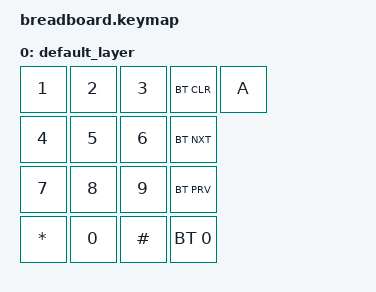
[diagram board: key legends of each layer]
/*
 * Copyright (c) 2020 The ZMK Contributors
 *
 * SPDX-License-Identifier: MIT
 */

#include <behaviors.dtsi>
#include <dt-bindings/zmk/keys.h>
#include <dt-bindings/zmk/bt.h>
#include <dt-bindings/zmk/rgb.h>

/ {
    keymap {
        compatible = "zmk,keymap";

        default_layer {
            // -----------------
            // | 1 | 2 | 3 | A |
            // | 4 | 5 | 6 | B |
            // | 7 | 8 | 9 | C |
            // | * | 0 | # | D |
            bindings = <
              &kp N1   &kp N2 &kp N3   &bt BT_CLR    &kp A
              &kp N4   &kp N5 &kp N6   &bt BT_NXT
              &kp N7   &kp N8 &kp N9   &bt BT_PRV
              &kp STAR &kp N0 &kp HASH &bt BT_SEL 0
            >;
        };
    };
};
